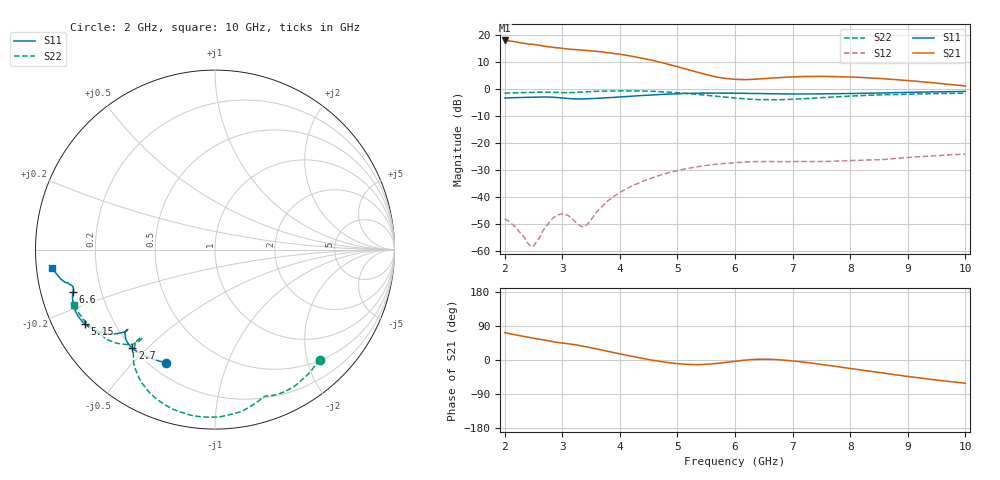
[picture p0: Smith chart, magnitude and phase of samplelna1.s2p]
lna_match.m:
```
%% Designing Matching Networks (Part 1: Networks with an LNA and Lumped Elements)
% This example shows how to verify the design of input and output matching
% networks for a Low Noise Amplifier (LNA) by plotting its gain and noise.
%
% In wireless communications, receivers need to be able to detect and
% amplify incoming low-power signals without adding much noise. Therefore,
% a LNA is often used as the first stage of these receivers. To design an
% LNA, this example uses the available gain design technique, which
% involves selecting an appropriate matching network that provides a
% suitable compromise between gain and noise.

%   Copyright 2007-2014 The MathWorks, Inc.

%% LNA Design Specifications
% The LNA design specifications are as follows:
%
% * Frequency range: 5.10 - 5.30 GHz
% * Noise Figure <= 2.2 dB
% * Transducer Gain > 11 dB
% * Operating between 50-ohm terminations

%% Create an |rfckt.amplifier| Object and Examine the Amplifier Power Gains and Noise Figure 
% Create an <matlab:doc('rf/rfckt.amplifier'); |rfckt.amplifier|> object to
% represent the amplifier that is specified in the file,
% <matlab:edit('samplelna1.s2p'); 'samplelna1.s2p'>.
% <matlab:doc('rf/analyze'); |analyze|> the amplifier in the frequency
% range from 2 GHz to 10 GHz. <matlab:doc('rf/plot'); |plot|> the
% transducer power gain (|Gt|), the available power gain (|Ga|) and the
% maximum available power gain (|Gmag|).
unmatched_amp = read(rfckt.amplifier, 'samplelna1.s2p');
analyze(unmatched_amp, 2e9:50e6:10e9);
figure
plot(unmatched_amp,'Gmag','Ga','Gt','dB')

%%
% This example shows how to design the input and output matching networks
% at 5.2 GHz, so examine the power gains at this frequency. Without the
% input and output matching networks, the transducer power gain at 5.2 GHz
% is about 7.2 dB; it is below the gain requirement of 11 dB in the
% specification and less than the available power gain. This amplifier is
% also potentially unstable at 5.2 GHz, because the maximum available gain
% does not exist at 5.2 GHz.

%%
% Plot the measured minimum noise figure (|Fmin|) and the noise figure
% (|NF|) calculated when there is no input matching network. Specify an
% $x$-axis range of 4.9 GHz to 6 GHz, where the minimum noise figure is
% measured.
plot(unmatched_amp,'Fmin','NF','dB')
axis([4.9 6 1.5 4])
legend('Location','NorthWest')

%% 
% When there is no input matching network, the noise figure between 5.10
% and 5.30 GHz is above the noise figure requirement of 2.2 dB in the
% specification.

%% Plot Gain, Noise Figure and Stability Circles
% Both the available gain and the noise figure are functions of the source
% reflection coefficient, GammaS. To select an appropriate GammaS that
% provides a suitable compromise between gain and noise, use the
% <matlab:doc('rf/circle'); |circle|> method of the |rfckt.amplifier|
% object to place the constant available gain and the constant noise figure
% circles on the Smith chart. As mentioned earlier, the amplifier is
% potentially unstable at 5.2 GHz. So, the following |circle| command also
% places the input and output stability circles on the Smith chart.
fc = 5.2e9;
circle(unmatched_amp,fc,'Stab','In','Stab','Out','Ga',10:2:20, ...
    'NF',1.8:0.2:3);
legend('Location','SouthEast')

%%
% Enable the data cursor and click on the constant available gain circle.
% The data tip displays the following data:
%
% * Available power gain (|Ga|) 
% * Noise figure (|NF|)
% * Source reflection coefficient (|GammaS|)
% * Output reflection coefficient (|GammaOut|)
% * Normalized source impedance (|ZS|)
%
% |Ga|, |NF|, |GammaOut| and |ZS| are all functions of the source
% reflection coefficient, |GammaS|. |GammaS| is the complex number that
% corresponds to the location of the data cursor. A star ('*') and a
% circle-in-dashed-line will also appear on the Smith chart. The star
% represents the matching load reflection coefficient (|GammaL|) that is
% the complex conjugate of |GammaOut|. The gain is maximized when |GammaL|
% is the complex conjugate of |GammaOut|. The circle-in-dashed-line
% represents the trajectory of the matching |GammaL| when the data cursor
% moves on a constant available gain or noise figure circle.
%
% <<lna_match_fig2.JPG>>

%%
% Because both the |S11| and |S22| parameters of the amplifier are less
% than unity in magnitude, both the input and output stable region contain
% the center of the Smith chart. In order to make the amplifier stable,
% |GammaS| must be in the input stable region and the matching |GammaL|
% must be in the output stable region. The output stable region is shaded
% in the above figure. However, when a |GammaS| that gives a suitable
% compromise between gain and noise is found, the matching |GammaL| always
% falls outside the output stable region. So we must stabilize the
% amplifier first.

%% Stabilize the Amplifier
% One way to stabilize an amplifier is to cascade a shunt resistor at the
% output of the amplifier. However, this approach will also reduce gain and
% add noise. At the end of the example, we will verify that the overall
% gain and noise still meet the requirement.
%
% To find the maximum shunt resistor value that makes the amplifier
% unconditionally stable, use the |fzero| function to find the resistor
% value that makes stability |MU| equal to 1. The |fzero| function always
% tries to achieve a value of zero for the objective function, so the
% objective function should return |MU-1|.
%%
type('lna_match_stabilization_helper.m')

%%
% Compute the parameters for the objective function and pass the objective
% function to |fzero| to get the maximum shunt resistor value. 
stab_amp = rfckt.cascade('ckts', {unmatched_amp, rfckt.shuntrlc});
R1 = fzero(@(R1) lna_match_stabilization_helper(R1,fc,stab_amp,stab_amp.Ckts{2},'R'),[1 1e5])

%% Find GammaS and GammaL
% Cascade a 118-ohm resistor at the output of the amplifier and analyze the
% cascade. Place the new constant available gain and the constant noise
% figure circles on the Smith chart.
shunt_r = rfckt.shuntrlc('R',118);
stab_amp = rfckt.cascade('ckts',{unmatched_amp,shunt_r});
analyze(stab_amp,fc);
circle(stab_amp,fc,'Ga',10:17,'NF',1.80:0.2:3)
legend('Location','SouthEast')

%% 
% Use the data cursor to locate a |GammaS| where there is a suitable
% compromise between gain and noise. The example selects a |GammaS| that
% gives gain of 14 dB and noise figure of 1.84 dB. Compute the matching
% |GammaL|, which is the complex conjugate of |GammaOut| on the data tip.
%
% <<lna_match_fig3.JPG>>
%
GammaS = 0.67*exp(1j*153.6*pi/180)
%% 
% Compute the normalized source impedance.
Zs = gamma2z(GammaS,1)
%%
% Compute the matching |GammaL| that is equal to the complex conjugate of
% |GammaOut|.
GammaL = 0.7363*exp(1j*120.1*pi/180)
%%
% Compute the normalized load impedance.
Zl = gamma2z(GammaL,1)

%% Design the Input Matching Network Using GammaS
% In this example, the lumped LC elements are used to build the input and
% output matching networks as follows:
%
% <<lna_match_fig1.JPG>>

%%
% The input matching network consists of one shunt capacitor, Cin, and one
% series inductor, Lin. Use the Smith chart and the data cursor to find
% component values. To do this, start by plotting the constant conductance
% circle that crosses the center of the Smith chart and the constant
% resistance circle that crosses |GammaS|.
[hlines,hsm] = circle(stab_amp,fc,'G',1,'R',real(Zs)); 
hsm.Type = 'YZ';
hold all
plot(GammaS,'k.','MarkerSize',16)
text(real(GammaS)+0.05,imag(GammaS)-0.05,'\Gamma_{S}','FontSize', 12, ...
    'FontUnits','normalized')
plot(0,0,'k.','MarkerSize',16)
hold off

%% 
% Then, find the intersection points of the constant conductance and the
% constant resistance circle. Based on the circuit diagram above, the
% intersection point in the lower half of the Smith chart should be used.
% Mark it as point A.
%
% <<lna_match_fig4.JPG>>
%
GammaA = 0.6983*exp(1j*(-134.3)*pi/180);
Za = gamma2z(GammaA,1);
Ya = 1/Za;

%%
% Determine the value of |Cin| from the difference in susceptance from the
% center of the Smith chart to point A. Namely,
%
% $$2 \pi f_c C_{in} = \mbox{Im}\left(\frac{Y_a}{50}\right)$$
%
% where 50 is the reference impedance.
Cin = imag(Ya)/50/2/pi/fc

%%
% Determine the value of |Lin| from the difference in reactance from point
% A to |GammaS|. Namely,
%
% $$2 \pi f_c L_{in} = 50 \left(\mbox{Im}(Z_s) - \mbox{Im}(Z_a)\right)$$
Lin = (imag(Zs) - imag(Za))*50/2/pi/fc

%% Design the Output Matching Network Using GammaL
% Use the approach described in the previous section on designing the input
% matching network to design the output matching network and get the values
% of |Cout| and |Lout|.
GammaB = 0.7055*exp(1j*(-134.9)*pi/180);
Zb = gamma2z(GammaB, 1);
Yb = 1/Zb;
Cout = imag(Yb)/50/2/pi/fc
%%
Lout = (imag(Zl) - imag(Zb))*50/2/pi/fc

%% Verify the Design
% Create the input and output matching networks. Cascade the input matching
% network, the amplifier, the shunt resistor and the output matching
% network to build the LNA.
input_match = rfckt.cascade('Ckts', ...
    {rfckt.shuntrlc('C',Cin),rfckt.seriesrlc('L',Lin)});
output_match = rfckt.cascade('Ckts', ...
    {rfckt.seriesrlc('L',Lout),rfckt.shuntrlc('C',Cout)});
LNA = rfckt.cascade('ckts', ...
    {input_match,unmatched_amp,shunt_r,output_match});

%% 
% Analyze the LNA around the design frequency range and plot the available
% and transducer power gain. The available and transducer power gain at 5.2
% GHz are both 14 dB as the design intended. The transducer power gain is
% above 11 dB in the design frequency range, which meets the requirement in
% the specification.
analyze(LNA,5.05e9:10e6:5.35e9);
plot(LNA,'Ga','Gt','dB');

%% 
% Plot the noise figure around the design frequency range. The noise figure
% is below 2.2 dB in the design frequency range, which also meets the
% requirement in the specification. The noise figure of the LNA at 5.2 GHz
% is about 0.1 dB above that of the amplifier (1.84 dB), which demonstrates
% added noise by the shunt resistor.
plot(LNA,'NF','dB')

%%
% The available gain design method is often used in LNA matching. There are
% other design methods for other devices. In the second part of the
% example --
% <matlab:helpview(fullfile(matlabroot,'toolbox','rf','rfdemos','html','imped_match.html'));
% Designing Matching Networks (Part 2: Single Stub Transmission Lines)>, 
% a simultaneous conjugate matching example is presented.

displayEndOfDemoMessage(mfilename)
```
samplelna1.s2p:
# MHz S RI R 50
! S-Parameters data
! Freq  reS11  imS11  reS21  imS21  reS12  imS12  reS22  imS22
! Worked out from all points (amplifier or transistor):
!   161 points, 2 GHz to 10 GHz, reference 50 ohm
!   highest |S21| = 18.1 dB at 2 GHz (marker M1)
!   |S21| within 3 dB of that: start of sweep to 3.03 GHz
!   unconditionally stable (mu >= 1): start of sweep to 3.775 GHz
!   at 3.3 GHz: K = 4.44, MAG = 23.2 dB, |S12| = -50.6 dB
!   at 6 GHz: K = 0.73, MSG = 15.5 dB, |S12| = -27.3 dB
!   at 10 GHz: K = -0.39, MSG = 12.6 dB, |S12| = -24.0 dB
!   lowest NFmin = 1.68 dB at 4.9 GHz
!   S11 on the Smith chart (normalised r, x): 2 GHz: 0.26, -0.63; 2.7 GHz: 0.20, -0.45; 5.15 GHz: 0.10, -0.26; 6.6 GHz: 0.10, -0.14; 10 GHz: 0.05, -0.06
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2000  -0.272 -0.633  2.476 7.668  0.00388 5.97e-06  0.5827 -0.6126
2450  -0.3984 -0.5869  3.55 5.89  0.000995 0.000699  0.4754 -0.7339
2700  -0.4613 -0.5497  3.85 4.944  -5.32e-06 0.00269  0.3935 -0.7889
3400  -0.4883 -0.4483  4.292 3.054  0.000604 -0.00279  0.2041 -0.8695
4000  -0.5449 -0.4693  4.305 1.234  -0.0121 -0.00162  -0.0284 -0.9334
4600  -0.6403 -0.46  3.375 -0.0809  -0.0218 0.00844  -0.27 -0.8697
5150  -0.7269 -0.4125  2.327 -0.4652  -0.0248 0.0223  -0.4171 -0.7267
6000  -0.7899 -0.2981  1.529 -0.0863  -0.0164 0.0399  -0.4432 -0.5254
6600  -0.792 -0.2365  1.601 0.0522  -0.00704 0.0449  -0.4075 -0.4897
7850  -0.8043 -0.1964  1.614 -0.558  0.000238 0.0467  -0.5049 -0.5278
10000  -0.9055 -0.1043  0.5361 -1.003  0.00275 0.0629  -0.7838 -0.3091
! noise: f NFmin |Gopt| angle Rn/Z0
4900  1.68  0.6  156.8  0.077
5000  1.72  0.6  157.7  0.076
5100  1.75  0.6  158.5  0.076
5200  1.79  0.61  159.4  0.075
5300  1.84  0.61  160.2  0.075
5500  1.94  0.62  162  0.074
5600  2.01  0.63  162.9  0.074
5700  2.07  0.63  164  0.073
5800  2.1  0.63  164.8  0.072
6000  2.17  0.63  166.1  0.071
